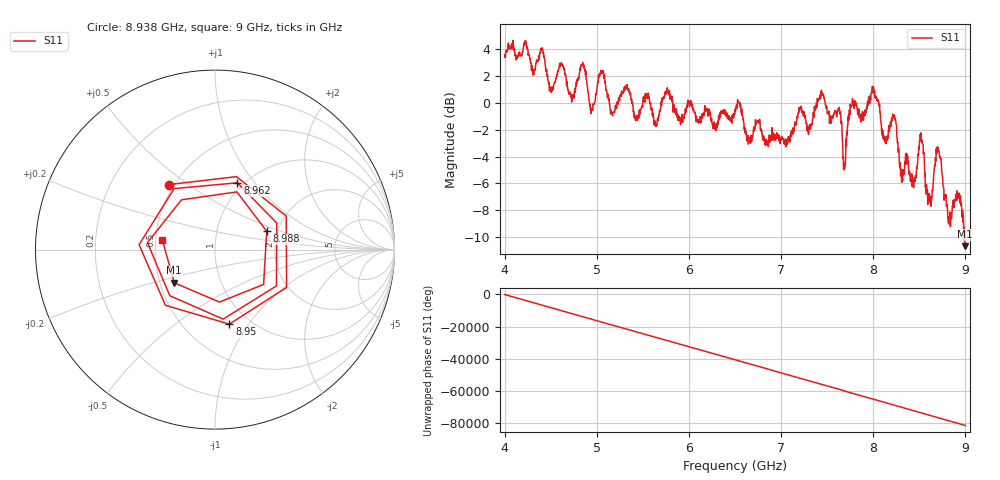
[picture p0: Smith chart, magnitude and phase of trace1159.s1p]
! Created with skrf 1.8.0 (http://scikit-rf.org).
# Hz S RI R 50.0
!freq ReS11 ImS11
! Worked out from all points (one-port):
!   1601 points, 4 GHz to 9 GHz, reference 50 ohm
!   lowest |S11| = -10.7 dB at 8.997 GHz (marker M1), VSWR 1.83, Z = 29.7 - j12 ohm
!   |S11| at or under -10 dB: 8.986842 GHz to 8.989184 GHz (2.342 MHz wide, 0.0261 % of centre); 8.992238 GHz to end of sweep
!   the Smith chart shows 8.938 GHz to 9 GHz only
!   S11 on the Smith chart (normalised r, x): 8.938 GHz: 0.47, +0.42; 8.95 GHz: 0.81, -0.81; 8.962 GHz: 0.93, +0.82; 8.988 GHz: 1.75, +0.40; 9 GHz: 0.54, +0.06
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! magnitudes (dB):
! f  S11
! 4 GHz  3.4
! 4.625 GHz  2.8
! 4.731 GHz  0.6
! 4.856 GHz  2.8
! 4.944 GHz  -0.4
! 5.05 GHz  2.2
! 5.169 GHz  -0.8
! 5.25 GHz  0.6
! 5.875 GHz  -0.8
! 6.5 GHz  -0.5
! 7.125 GHz  -2.3
! 7.444 GHz  0.5
! 7.634 GHz  -0.6
! 7.691 GHz  -4.9
! 7.75 GHz  -0.1
! 8.006 GHz  1.1
! 8.375 GHz  -4.1
! 8.441 GHz  -5.8
! 8.525 GHz  -2.8
! 8.616 GHz  -7.5
! 8.709 GHz  -3.6
! 8.828 GHz  -9.1
! 8.938 GHz  -7.1
! 8.95 GHz  -7.5
! 8.962 GHz  -8.1
! 8.988 GHz  -10.3
! 8.997 GHz  -10.7
! 9 GHz  -10.5
